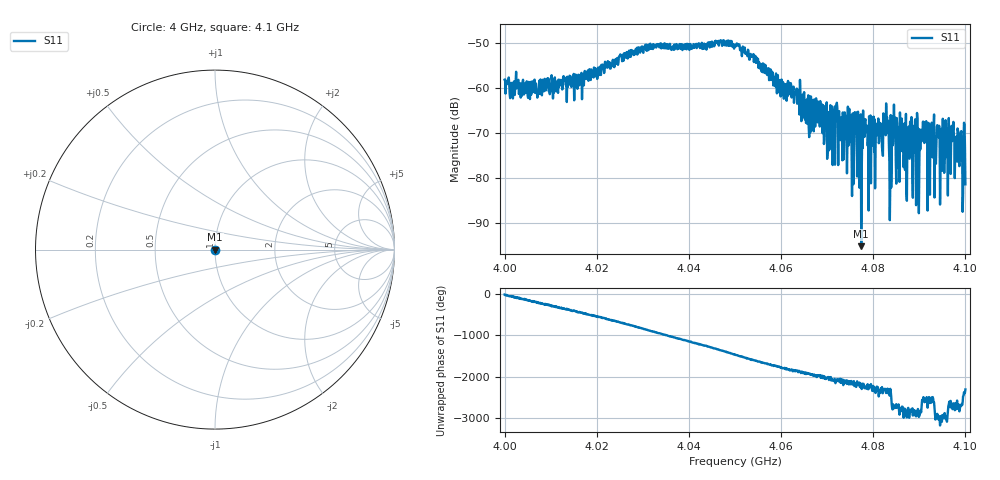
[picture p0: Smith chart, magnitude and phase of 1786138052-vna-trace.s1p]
! Created with skrf 1.10.0 (http://scikit-rf.org).
# Hz S RI R 50.0
!freq ReS11 ImS11
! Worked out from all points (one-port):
!   1001 points, 4 GHz to 4.1 GHz, reference 50 ohm
!   lowest |S11| = -95.1 dB at 4.0774 GHz (marker M1), VSWR 1.00, Z = 50 - j0.00161 ohm
!   |S11| at or under -10 dB: start of sweep to end of sweep
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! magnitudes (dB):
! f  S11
! 4 GHz  -58.2
! 4.0015 GHz  -59.6
! 4.0125 GHz  -60.4
! 4.025 GHz  -52.9
! 4.0375 GHz  -51.5
! 4.05 GHz  -50.8
! 4.0625 GHz  -60.0
! 4.0656 GHz  -62.6
! 4.0687 GHz  -65.6
! 4.0705 GHz  -66.0
! 4.0718 GHz  -64.0
! 4.0728 GHz  -69.8
! 4.075 GHz  -66.2
! 4.0774 GHz  -95.1
! 4.0782 GHz  -67.5
! 4.08 GHz  -72.8
! 4.0827 GHz  -70.5
! 4.0838 GHz  -66.1
! 4.0843 GHz  -72.4
! 4.0875 GHz  -70.8
! 4.0879 GHz  -75.7
! 4.0898 GHz  -69.1
! 4.0912 GHz  -68.7
! 4.0921 GHz  -74.5
! 4.0943 GHz  -68.4
! 4.095 GHz  -78.4
! 4.0986 GHz  -76.2
! 4.1 GHz  -81.4
